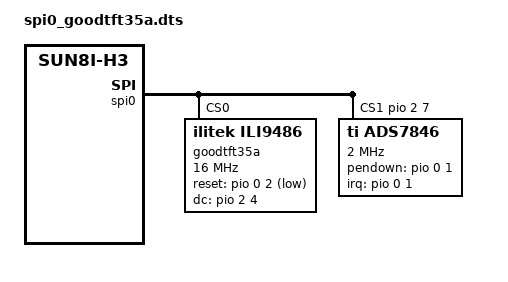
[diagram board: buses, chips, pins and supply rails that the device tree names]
/dts-v1/;
/plugin/;

/ {
	compatible = "allwinner,sun8i-h3";

	fragment@0 {
		target = <&pio>;
		__overlay__ {
			tft35a_reset_pin: tft35a_reset_pin {
				pins = "PA2";
				function = "gpio_out";
				output-high;
			};
			tft35a_dc_pin: tft35a_dc_pin {
				pins = "PC4";
				function = "gpio_out";
				output-low;
			};
			ads7846_pins: ads7846_pins {
				pins = "PA1";
				function = "irq";
			};
			spi0_cs1: spi0_cs1 {
				pins = "PC7";
				function = "gpio_out";
				output-high;
			};
		};
	};

	fragment@1 {
		target = <&spi0>;
		__overlay__ {
			#address-cells = <1>;
			#size-cells = <0>;
			status = "okay";

			pinctrl-names = "default", "default";
			pinctrl-1 = <&spi0_cs1>;
			cs-gpios = <0>, <&pio 2 7 0>; // CS0, PC7 GPIO_ACTIVE_HIGH

			goodtft35a@0 {
				compatible = "ilitek,ili9486";

				reg = <0>; // Chip Select 0
				pinctrl-names = "default";
				pinctrl-0 = <&tft35a_reset_pin>, <&tft35a_dc_pin>;
				status = "okay";

				spi-max-frequency = <16000000>;
				txbuflen = <0x8000>;
				rotate = <90>;
				bgr = <0>;
				fps = <30>;
				buswidth = <8>;
				regwidth = <16>;
				reset-gpios = <&pio 0 2 1>; // PA2 GPIO_ACTIVE_HIGH
				dc-gpios = <&pio 2 4 0>; // PC4 GPIO_ACTIVE_HIGH
				debug = <0>;
				init = <
					0x10000f1 0x36 0x04 0x00 0x3c 0x0f 0x8f
					0x10000f2 0x18 0xa3 0x12 0x02 0xb2 0x12 0xff 0x10 0x00
					0x10000f8 0x21 0x04
					0x10000f9 0x00 0x08
					0x1000036 0x08
					0x10000b4 0x00
					0x10000c1 0x41
					0x10000c5 0x00 0x91 0x80 0x00
					0x10000e0 0x0f 0x1f 0x1c 0x0c 0x0f 0x08 0x48 0x98 0x37 0x0a 0x13 0x04 0x11 0x0d 0x00
					0x10000e1 0x0f 0x32 0x2e 0x0b 0x0d 0x05 0x47 0x75 0x37 0x06 0x10 0x03 0x24 0x20 0x00
					0x100003a 0x55
					0x1000011
					0x1000036 0x28
					0x20000ff
					0x1000029
				>;
			};

			ads7846@1 {
				compatible = "ti,ads7846";
				reg = <1>; // Chip Select 1
				status = "okay";

				spi-max-frequency = <2000000>;
				interrupt-parent = <&pio>;
				interrupts = <0 1 2>; // PA1 IRQ_TYPE_EDGE_FALLING
				pendown-gpio = <&pio 0 1 0>; // PA1

				ti,x-plate-ohms = /bits/ 16 <60>;
				ti,pressure-max = /bits/ 16 <255>;
			};

		};
	};
};
